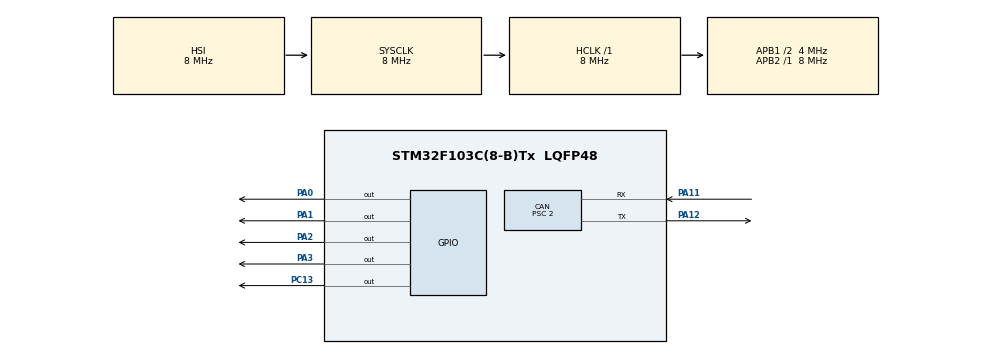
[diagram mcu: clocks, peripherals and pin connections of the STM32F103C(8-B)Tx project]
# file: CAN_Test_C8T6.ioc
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CAN.BS1=CAN_BS1_9TQ
CAN.BS2=CAN_BS2_8TQ
CAN.CalculateBaudRate=111111
CAN.CalculateTimeBit=9000
CAN.CalculateTimeQuantum=500.0
CAN.Mode=CAN_MODE_NORMAL
CAN.Prescaler=2
Mcu.Family=STM32F1
Mcu.Name=STM32F103C(8-B)Tx
Mcu.Package=LQFP48
NVIC.CAN1_RX1_IRQn=true\:0\:0\:false\:false\:true\:true\:true\:true
NVIC.PriorityGroup=NVIC_PRIORITYGROUP_4
NVIC.USB_HP_CAN1_TX_IRQn=true\:0\:0\:false\:false\:true\:true\:true\:true
NVIC.USB_LP_CAN1_RX0_IRQn=true\:0\:0\:false\:false\:true\:true\:true\:true
PA0-WKUP.Signal=GPIO_Output
PA1.Signal=GPIO_Output
PA11.GPIO_PuPd=GPIO_NOPULL
PA11.Mode=CAN_Activate
PA11.Signal=CAN_RX
PA12.Mode=CAN_Activate
PA12.Signal=CAN_TX
PA13.Mode=Serial_Wire
PA13.Signal=SYS_JTMS-SWDIO
PA14.Mode=Serial_Wire
PA14.Signal=SYS_JTCK-SWCLK
PA2.Signal=GPIO_Output
PA3.Signal=GPIO_Output
PC13-TAMPER-RTC.GPIO_PuPd=GPIO_PULLUP
PC13-TAMPER-RTC.Signal=GPIO_Output
ProjectManager.HeapSize=0x200
ProjectManager.StackSize=0x400
ProjectManager.TargetToolchain=MDK-ARM V5.32
RCC.AHBFreq_Value=8000000
RCC.APB1CLKDivider=RCC_HCLK_DIV2
RCC.APB1Freq_Value=4000000
RCC.APB1TimFreq_Value=8000000
RCC.APB2Freq_Value=8000000
RCC.APB2TimFreq_Value=8000000
RCC.HCLKFreq_Value=8000000
RCC.PLLMUL=RCC_PLL_MUL9
RCC.SYSCLKFreq_VALUE=8000000
RCC.USBFreq_Value=36000000
board=custom

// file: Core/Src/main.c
/* USER CODE BEGIN Header */
/**
 ******************************************************************************
 * @file           : main.c
 * @brief          : Main program body
 ******************************************************************************
 * @attention
 *
 * Copyright (c) 2025 STMicroelectronics.
 * All rights reserved.
 *
 * This software is licensed under terms that can be found in the LICENSE file
 * in the root directory of this software component.
 * If no LICENSE file comes with this software, it is provided AS-IS.
 *
 ******************************************************************************
 */
/* USER CODE END Header */
#include "main.h"
#include "can.h"
#include "gpio.h"

/* USER CODE BEGIN Includes */

#include "stdarg.h"
#include "stdio.h"
#include "stm32f1xx_hal_can.h"
#include "MCP2515.h"
#include "SPI_Soft.h"

/* USER CODE END Includes */

/* USER CODE BEGIN PD */

#define CAN_FILTER(x) ((x) << 3)

#define CAN_FIFO_0 (0 << 2)
#define CAN_FIFO_1 (1 << 2)

#define CANSTDID (0 << 1) // 标准ID
#define CANEXTID (1 << 1) // 扩展ID

#define CANRTR_DATA (0 << 0)   // 数据帧
#define CANRTR_REMOTE (1 << 0) // 远程帧

/* USER CODE END PD */

void SystemClock_Config(void);
/* USER CODE BEGIN PFP */

void Can_Init(CAN_HandleTypeDef *hcan)
{
    HAL_CAN_Start(hcan);
    __HAL_CAN_ENABLE_IT(hcan, CAN_IT_RX_FIFO0_MSG_PENDING); // 使能接收中断
    __HAL_CAN_ENABLE_IT(hcan, CAN_IT_RX_FIFO1_MSG_PENDING); // 使能接收中断
}

HAL_StatusTypeDef Can_SendData(CAN_HandleTypeDef *hcan, uint16_t ID, uint8_t *Data, uint16_t Length)
{
    CAN_TxHeaderTypeDef TxHeader;
    uint32_t TxMailbox;

    TxHeader.StdId = ID; // 设置标准ID
    TxHeader.ExtId = 0;
    TxHeader.IDE = 0;
    TxHeader.RTR = 0;
    TxHeader.DLC = Length;

    return HAL_CAN_AddTxMessage(hcan, &TxHeader, Data, &TxMailbox);
}

void Can_Filter_Config(CAN_HandleTypeDef *hcan, uint8_t Object_Para, uint32_t ID, uint32_t Mask_ID)
{
    CAN_FilterTypeDef Can_Filter;

    if ((Object_Para & 0x02)) // 标准帧
    {
        Can_Filter.FilterIdHigh = ID << 3 >> 16;
        Can_Filter.FilterIdLow = ID << 3 | ((Object_Para & 0x03) << 1);
        Can_Filter.FilterMaskIdHigh = Mask_ID << 3 >> 16;
        Can_Filter.FilterMaskIdLow = Mask_ID << 3 | ((Object_Para & 0x03) << 1);
    }
    else // 遥控帧
    {
        Can_Filter.FilterIdHigh = ID << 5;
        Can_Filter.FilterIdLow = ((Object_Para & 0x03) << 1);
        Can_Filter.FilterMaskIdHigh = Mask_ID << 5;
        Can_Filter.FilterMaskIdLow = ((Object_Para & 0x03) << 1);
    }

    Can_Filter.FilterBank = Object_Para >> 3;
    Can_Filter.FilterFIFOAssignment = (Object_Para >> 2) & 0x01;
    Can_Filter.FilterActivation = ENABLE;
    Can_Filter.FilterMode = CAN_FILTERMODE_IDMASK;
    Can_Filter.FilterScale = CAN_FILTERSCALE_32BIT;
    Can_Filter.SlaveStartFilterBank = 14;
    HAL_CAN_ConfigFilter(hcan, &Can_Filter);
}

// void HAL_CAN_RxFifo0MsgPendingCallback(CAN_HandleTypeDef *hcan)
//{
//     HAL_GPIO_TogglePin(GPIOC, GPIO_PIN_13);
//     CAN_RxHeaderTypeDef CAN_Rx;
//     HAL_CAN_GetRxMessage(hcan, CAN_FIFO_0, &CAN_Rx, ReceiveData);
//     uint16_t Angle = (ReceiveData[0] << 8) | ReceiveData[1]; // 角度
//     uint16_t Speed = (ReceiveData[2] << 8) | ReceiveData[3]; // 速度
//     uint16_t I = (ReceiveData[4] << 8) | ReceiveData[5];     // 电流
//     uint16_t Temp = (ReceiveData[6]);                        // 温度
// }
/* USER CODE END PFP */

int main(void)
{

    /* MCU Configuration--------------------------------------------------------*/

    /* Reset of all peripherals, Initializes the Flash interface and the Systick. */
    HAL_Init();

    /* Configure the system clock */
    SystemClock_Config();

    /* Initialize all configured peripherals */
    MX_GPIO_Init();
    MX_CAN_Init();
    /* USER CODE BEGIN 2 */

    MCP2515_Init();
    uint8_t SendData[8] = {0x01, 0x02, 0x03, 0x04, 0x05, 0x06, 0x07, 0x08};
    uint8_t ReceiveData[16] = {0};

    /* USER CODE END 2 */

    /* Infinite loop */
    /* USER CODE BEGIN WHILE */
    while (1)
    {

        HAL_Delay(1000);
        MCP2515_Send_Tx_Buffer(0x125, SendData, 8);
        MCP2515_Read_Rx_Buffer(ReceiveData, 8);
        if (ReceiveData[0] == 0x01 && ReceiveData[1] == 0x02 && ReceiveData[2] == 0x03 &&
            ReceiveData[3] == 0x04 && ReceiveData[4] == 0x05 && ReceiveData[5] == 0x06 &&
            ReceiveData[6] == 0x07 && ReceiveData[7] == 0x08)
        {
            HAL_GPIO_TogglePin(GPIOC, GPIO_PIN_13); // 切换LED状态
        }
        HAL_Delay(10);
        MCP2515_Read_Register_Data(0x2D, ReceiveData, 1); // 错误标志
        HAL_Delay(10);
        MCP2515_Read_Register_Data(0x30, ReceiveData, 1); // 发送控制器T0
        HAL_Delay(10);
        MCP2515_Read_Register_Data(0xEE, ReceiveData, 1); // 状态寄存器
        HAL_Delay(10);
        MCP2515_Read_Register_Data(0x65, ReceiveData, 9); // 接收控制器

        /* USER CODE END WHILE */

    }
}

void SystemClock_Config(void)
{
    RCC_OscInitTypeDef RCC_OscInitStruct = {0};
    RCC_ClkInitTypeDef RCC_ClkInitStruct = {0};

    /** Initializes the RCC Oscillators according to the specified parameters
     * in the RCC_OscInitTypeDef structure.
     */
    RCC_OscInitStruct.OscillatorType = RCC_OSCILLATORTYPE_HSI;
    RCC_OscInitStruct.HSIState = RCC_HSI_ON;
    RCC_OscInitStruct.HSICalibrationValue = RCC_HSICALIBRATION_DEFAULT;
    RCC_OscInitStruct.PLL.PLLState = RCC_PLL_NONE;
    if (HAL_RCC_OscConfig(&RCC_OscInitStruct) != HAL_OK)
    {
        Error_Handler();
    }

    /** Initializes the CPU, AHB and APB buses clocks
     */
    RCC_ClkInitStruct.ClockType = RCC_CLOCKTYPE_HCLK | RCC_CLOCKTYPE_SYSCLK | RCC_CLOCKTYPE_PCLK1 | RCC_CLOCKTYPE_PCLK2;
    RCC_ClkInitStruct.SYSCLKSource = RCC_SYSCLKSOURCE_HSI;
    RCC_ClkInitStruct.AHBCLKDivider = RCC_SYSCLK_DIV1;
    RCC_ClkInitStruct.APB1CLKDivider = RCC_HCLK_DIV2;
    RCC_ClkInitStruct.APB2CLKDivider = RCC_HCLK_DIV1;

    if (HAL_RCC_ClockConfig(&RCC_ClkInitStruct, FLASH_LATENCY_0) != HAL_OK)
    {
        Error_Handler();
    }
}

void Error_Handler(void)
{
    __disable_irq();
    while (1)
    {
    }
}
